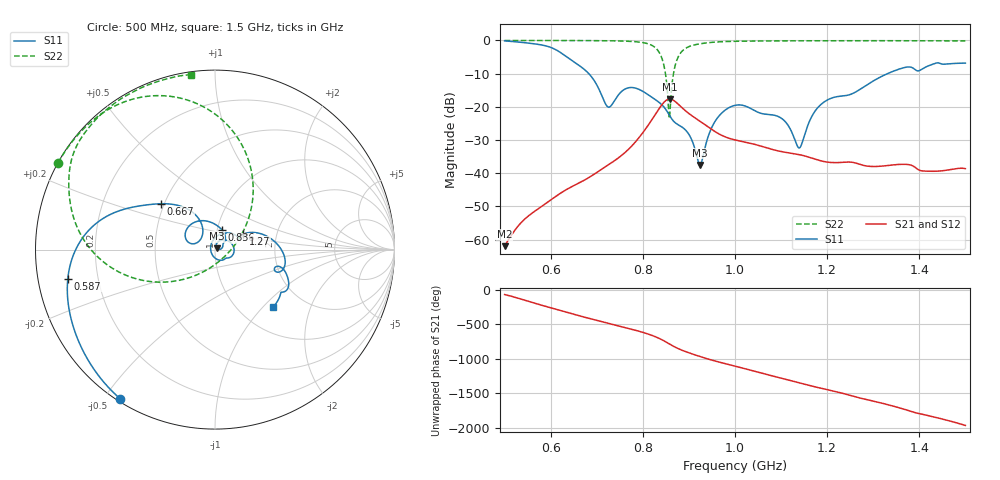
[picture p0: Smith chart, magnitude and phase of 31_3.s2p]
! TOUCHSTONE file generated by CST MICROWAVE STUDIO
! Date and time: Fri Oct 30 08:07:56 2020
! Project name: Scenario_1_Circular_Tissue_out_of_Line.cst
! Parameters = {dy1=174.23; L_HA=400; MT=2.54; Rad_Dielectric=30; Rad_Lower=7.3; Rad_Upper=30; a_HA=580; a_WG=246; b_HA=500; b_WG=121; c_HA=0; c_WG=187; d_feed=85; dx1=520; h_feed=15; h_lower=18; h_upper=40}
! Header version: 2018
! Port assignment regex: !\s*Touchstone port\s*([0-9]+)\s*=\s*(CST MWS port|CST DS port)\s*([0-9]+|Zmin|Zmax)\s*\(\"(.*)\"\)(\s*mode\s*([0-9]+))?.*
! Touchstone port assignment:
! Touchstone port 1 = CST MWS port 1 ("")
! Touchstone port 2 = CST MWS port 2 ("")
# GHz S DB R 50
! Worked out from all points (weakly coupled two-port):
!   1001 points, 500 MHz to 1.5 GHz, reference 50 ohm
!   highest |S21| = -17.68 dB at 858 MHz (marker M1); lowest = -62.0 dB at 500 MHz (marker M2)
!   lowest |S11| = -37.6 dB at 924 MHz (marker M3), VSWR 1.03, Z = 51.1 + j0.807 ohm
!   |S11| at or under -10 dB: 682.7 MHz to 1.331 GHz (648.4 MHz wide, 64.4 % of centre)
!   |S22| runs from -23.5 to 0.0 dB; largest |S21 - S12| = 9.7e-05
!   S11 on the Smith chart (normalised r, x): 500 MHz: 0.01, -0.55; 587 MHz: 0.09, -0.10; 667 MHz: 0.48, +0.29; 836 MHz: 1.06, +0.23; 1.27 GHz: 1.35, +0.24; 1.5 GHz: 1.41, -1.14
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0.5  -0.14 -122.5  -62.01 -69.0  -62.01 -69.0  -0.01 151.1
0.587  -1.56 -168.9  -49.38 123.9  -49.38 123.9  -0.02 145.1
0.624  -3.90 163.6  -45.80 53.6  -45.80 53.6  -0.02 142.2
0.667  -8.08 139.6  -42.57 -25.6  -42.57 -25.6  -0.04 138.4
0.725  -20.10 142.6  -37.51 -125.2  -37.51 -125.2  -0.10 131.6
0.772  -14.21 142.4  -32.38 155.7  -32.38 155.7  -0.27 122.6
0.814  -16.60 94.6  -25.05 74.1  -25.05 74.1  -1.15 104.4
0.834  -18.54 72.0  -20.82 21.3  -20.82 21.3  -3.28 83.2
0.836  -18.75 69.5  -20.41 15.1  -20.41 15.1  -3.72 80.0
0.848  -20.45 53.0  -18.35 -26.5  -18.35 -26.5  -9.10 53.2
0.858  -22.63 41.9  -17.68 -65.3  -17.68 -65.3  -23.50 -62.8
0.878  -25.52 32.7  -19.38 -134.9  -19.38 -134.9  -4.62 -170.2
0.901  -28.56 9.7  -22.15 166.1  -22.15 166.1  -1.81 166.7
0.924  -37.57 36.7  -24.35 114.6  -24.35 114.6  -1.01 156.3
0.956  -24.56 59.8  -27.43 51.1  -27.43 51.1  -0.50 147.9
1  -19.56 6.2  -29.98 -23.4  -29.98 -23.4  -0.26 140.2
1.099  -23.30 -60.1  -33.45 164.4  -33.45 164.4  -0.12 129.8
1.139  -32.40 -170.3  -34.40 95.8  -34.40 95.8  -0.11 126.4
1.167  -22.82 84.5  -35.48 47.1  -35.48 47.1  -0.10 124.2
1.27  -14.86 28.7  -37.33 -123.6  -37.33 -123.9  -0.08 116.4
1.334  -9.82 10.1  -37.66 134.0  -37.66 134.1  -0.09 111.5
1.5  -6.84 -44.7  -38.64 -162.5  -38.64 -162.5  -0.14 97.9
